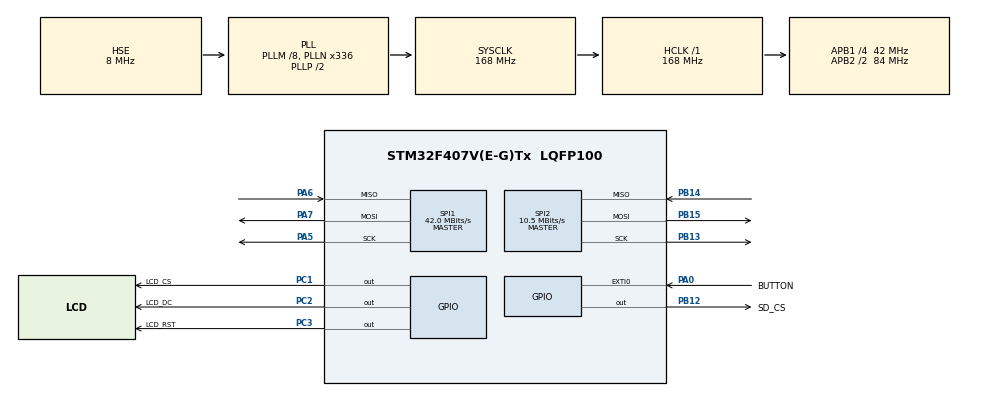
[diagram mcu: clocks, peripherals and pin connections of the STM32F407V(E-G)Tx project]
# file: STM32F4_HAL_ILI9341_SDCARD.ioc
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Dma.Request0=SPI1_TX
Dma.SPI1_TX.0.Direction=DMA_MEMORY_TO_PERIPH
Dma.SPI1_TX.0.FIFOMode=DMA_FIFOMODE_DISABLE
Dma.SPI1_TX.0.Instance=DMA2_Stream3
Dma.SPI1_TX.0.MemDataAlignment=DMA_MDATAALIGN_BYTE
Dma.SPI1_TX.0.MemInc=DMA_MINC_ENABLE
Dma.SPI1_TX.0.Mode=DMA_NORMAL
Dma.SPI1_TX.0.PeriphDataAlignment=DMA_PDATAALIGN_BYTE
Dma.SPI1_TX.0.PeriphInc=DMA_PINC_DISABLE
Dma.SPI1_TX.0.Priority=DMA_PRIORITY_LOW
FATFS._CODE_PAGE=949
FATFS._MAX_SS=4096
FATFS._USE_LFN=1
Mcu.Family=STM32F4
Mcu.Name=STM32F407V(E-G)Tx
Mcu.Package=LQFP100
NVIC.DMA2_Stream3_IRQn=true\:0\:0\:false\:false\:true\:false
NVIC.PriorityGroup=NVIC_PRIORITYGROUP_0
NVIC.SPI1_IRQn=true\:0\:0\:false\:false\:true\:true
PA0-WKUP.GPIO_Label=BUTTON
PA0-WKUP.Signal=GPXTI0
PA5.Mode=Full_Duplex_Master
PA5.Signal=SPI1_SCK
PA6.Mode=Full_Duplex_Master
PA6.Signal=SPI1_MISO
PA7.Mode=Full_Duplex_Master
PA7.Signal=SPI1_MOSI
PB12.GPIO_Label=SD_CS
PB12.Signal=GPIO_Output
PB13.Mode=Full_Duplex_Master
PB13.Signal=SPI2_SCK
PB14.Mode=Full_Duplex_Master
PB14.Signal=SPI2_MISO
PB15.Mode=Full_Duplex_Master
PB15.Signal=SPI2_MOSI
PC1.GPIO_Label=LCD_CS
PC1.PinState=GPIO_PIN_RESET
PC1.Signal=GPIO_Output
PC2.GPIO_Label=LCD_DC
PC2.Signal=GPIO_Output
PC3.GPIO_Label=LCD_RST
PC3.Signal=GPIO_Output
PH0-OSC_IN.Mode=HSE-External-Oscillator
PH0-OSC_IN.Signal=RCC_OSC_IN
PH1-OSC_OUT.Mode=HSE-External-Oscillator
PH1-OSC_OUT.Signal=RCC_OSC_OUT
ProjectManager.HeapSize=0x200
ProjectManager.StackSize=0x400
ProjectManager.TargetToolchain=TrueSTUDIO
RCC.48MHZClocksFreq_Value=48000000
RCC.AHBFreq_Value=168000000
RCC.APB1CLKDivider=RCC_HCLK_DIV4
RCC.APB1Freq_Value=42000000
RCC.APB1TimFreq_Value=84000000
RCC.APB2CLKDivider=RCC_HCLK_DIV2
RCC.APB2Freq_Value=84000000
RCC.APB2TimFreq_Value=168000000
RCC.CortexFreq_Value=168000000
RCC.HCLKFreq_Value=168000000
RCC.HSE_VALUE=8000000
RCC.HSI_VALUE=16000000
RCC.LSE_VALUE=32768
RCC.PLLM=8
RCC.PLLN=336
RCC.PLLQ=7
RCC.PLLSourceVirtual=RCC_PLLSOURCE_HSE
RCC.SYSCLKFreq_VALUE=168000000
RCC.SYSCLKSource=RCC_SYSCLKSOURCE_PLLCLK
RCC.VCOOutputFreq_Value=336000000
SPI1.CalculateBaudRate=42.0 MBits/s
SPI1.Direction=SPI_DIRECTION_2LINES
SPI1.Mode=SPI_MODE_MASTER
SPI1.VirtualType=VM_MASTER
SPI2.BaudRatePrescaler=SPI_BAUDRATEPRESCALER_4
SPI2.CalculateBaudRate=10.5 MBits/s
SPI2.Direction=SPI_DIRECTION_2LINES
SPI2.Mode=SPI_MODE_MASTER
SPI2.VirtualType=VM_MASTER
VP_FATFS_VS_Generic.Mode=User_defined
board=STM32F4DISCOVERY

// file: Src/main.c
/**
 ******************************************************************************
 * @file           : main.c
 * @brief          : Main program body
 ******************************************************************************
 * This notice applies to any and all portions of this file
 * that are not between comment pairs USER CODE BEGIN and
 * USER CODE END. Other portions of this file, whether
 * inserted by the user or by software development tools
 * are owned by their respective copyright owners.
 *
 * Copyright (c) 2019 STMicroelectronics International N.V.
 * All rights reserved.
 *
 * Redistribution and use in source and binary forms, with or without
 * modification, are permitted, provided that the following conditions are met:
 *
 * 1. Redistribution of source code must retain the above copyright notice,
 *    this list of conditions and the following disclaimer.
 * 2. Redistributions in binary form must reproduce the above copyright notice,
 *    this list of conditions and the following disclaimer in the documentation
 *    and/or other materials provided with the distribution.
 * 3. Neither the name of STMicroelectronics nor the names of other
 *    contributors to this software may be used to endorse or promote products
 *    derived from this software without specific written permission.
 * 4. This software, including modifications and/or derivative works of this
 *    software, must execute solely and exclusively on microcontroller or
 *    microprocessor devices manufactured by or for STMicroelectronics.
 * 5. Redistribution and use of this software other than as permitted under
 *    this license is void and will automatically terminate your rights under
 *    this license.
 *
 * THIS SOFTWARE IS PROVIDED BY STMICROELECTRONICS AND CONTRIBUTORS "AS IS"
 * AND ANY EXPRESS, IMPLIED OR STATUTORY WARRANTIES, INCLUDING, BUT NOT
 * LIMITED TO, THE IMPLIED WARRANTIES OF MERCHANTABILITY, FITNESS FOR A
 * PARTICULAR PURPOSE AND NON-INFRINGEMENT OF THIRD PARTY INTELLECTUAL PROPERTY
 * RIGHTS ARE DISCLAIMED TO THE FULLEST EXTENT PERMITTED BY LAW. IN NO EVENT
 * SHALL STMICROELECTRONICS OR CONTRIBUTORS BE LIABLE FOR ANY DIRECT, INDIRECT,
 * INCIDENTAL, SPECIAL, EXEMPLARY, OR CONSEQUENTIAL DAMAGES (INCLUDING, BUT NOT
 * LIMITED TO, PROCUREMENT OF SUBSTITUTE GOODS OR SERVICES; LOSS OF USE, DATA,
 * OR PROFITS; OR BUSINESS INTERRUPTION) HOWEVER CAUSED AND ON ANY THEORY OF
 * LIABILITY, WHETHER IN CONTRACT, STRICT LIABILITY, OR TORT (INCLUDING
 * NEGLIGENCE OR OTHERWISE) ARISING IN ANY WAY OUT OF THE USE OF THIS SOFTWARE,
 * EVEN IF ADVISED OF THE POSSIBILITY OF SUCH DAMAGE.
 *
 ******************************************************************************
 */
#include "main.h"
#include "stm32f4xx_hal.h"
#include "fatfs.h"

/* USER CODE BEGIN Includes */
#include "ILI9341_STM32_Driver.h"
#include "ILI9341_GFX.h"

/* USER CODE END Includes */

SPI_HandleTypeDef hspi1;
SPI_HandleTypeDef hspi2;
DMA_HandleTypeDef hdma_spi1_tx;

/* USER CODE BEGIN PV */
/* Private variables ---------------------------------------------------------*/
FATFS fs;
FATFS *pfs;
FIL fil;
FRESULT fres;
DWORD fre_clust;
uint32_t totalSpace, freeSpace;
char buffer[100];

/* USER CODE END PV */

void SystemClock_Config(void);
static void MX_GPIO_Init(void);
static void MX_DMA_Init(void);
static void MX_SPI1_Init(void);
static void MX_SPI2_Init(void);

/* USER CODE BEGIN PFP */
/* Private function prototypes -----------------------------------------------*/

/* USER CODE END PFP */

int main(void)
{

	/* MCU Configuration----------------------------------------------------------*/

	/* Reset of all peripherals, Initializes the Flash interface and the Systick. */
	HAL_Init();

	/* Configure the system clock */
	SystemClock_Config();

	/* Initialize all configured peripherals */
	MX_GPIO_Init();
	MX_DMA_Init();
	MX_SPI1_Init();
	MX_SPI2_Init();
	MX_FATFS_Init();
	/* USER CODE BEGIN 2 */
	/* Wait time to power up */
	ILI9341_Init();

	ILI9341_FillScreen(WHITE);
	ILI9341_SetRotation(SCREEN_HORIZONTAL_2);

	/* Mount SD Card */
	if(f_mount(&fs, "", 0) != FR_OK)
	{
		ILI9341_DrawText("f_mount failed", FONT3, 10, 10, BLACK, WHITE);
		_Error_Handler(__FILE__, __LINE__);
	}

	/* Open file to write */
	if(f_open(&fil, "first.txt", FA_OPEN_ALWAYS | FA_READ | FA_WRITE) != FR_OK)
	{
		ILI9341_DrawText("f_open failed", FONT3, 10, 10, BLACK, WHITE);
		_Error_Handler(__FILE__, __LINE__);
	}

	/* Check freeSpace space */
	if(f_getfree("", &fre_clust, &pfs) != FR_OK)
	{
		ILI9341_DrawText("f_getfree failed", FONT3, 10, 10, BLACK, WHITE);
		_Error_Handler(__FILE__, __LINE__);
	}

	totalSpace = (uint32_t)((pfs->n_fatent - 2) * pfs->csize * 0.5);
	freeSpace = (uint32_t)(fre_clust * pfs->csize * 0.5);

	/* freeSpace space is less than 1kb */
	if(freeSpace < 1)
	{
		ILI9341_DrawText("freeSpace is too small", FONT3, 10, 10, BLACK, WHITE);
		_Error_Handler(__FILE__, __LINE__);
	}

	/* Writing text */
	f_puts("STM32 SD Card I/O Example via SPI\n", &fil);
	f_puts("Save the world!!!", &fil);

	/* Close file */
	if(f_close(&fil) != FR_OK)
	{
		ILI9341_DrawText("f_close failed", FONT3, 10, 10, BLACK, WHITE);
		_Error_Handler(__FILE__, __LINE__);
	}

	/* Open file to read */
	if(f_open(&fil, "first.txt", FA_READ) != FR_OK)
	{
		ILI9341_DrawText("f_open failed", FONT3, 10, 10, BLACK, WHITE);
		_Error_Handler(__FILE__, __LINE__);
	}

	while(f_gets(buffer, sizeof(buffer), &fil))
	{
		static uint8_t line = 10;
		ILI9341_DrawText(buffer, FONT3, 10, line, BLACK, WHITE);
		line += 20;
	}

	/* Close file */
	if(f_close(&fil) != FR_OK)
	{
		ILI9341_DrawText("f_close failed", FONT3, 10, 10, BLACK, WHITE);
		_Error_Handler(__FILE__, __LINE__);
	}

	/* Unmount SDCARD */
	if(f_mount(NULL, "", 1) != FR_OK)
	{
		ILI9341_DrawText("f_mount failed", FONT3, 10, 10, BLACK, WHITE);
		_Error_Handler(__FILE__, __LINE__);
	}

	/* USER CODE END 2 */

	/* Infinite loop */
	while (1)
	{

	}

}

void SystemClock_Config(void)
{

	RCC_OscInitTypeDef RCC_OscInitStruct;
	RCC_ClkInitTypeDef RCC_ClkInitStruct;

	/**Configure the main internal regulator output voltage
	 */
	__HAL_RCC_PWR_CLK_ENABLE();

	__HAL_PWR_VOLTAGESCALING_CONFIG(PWR_REGULATOR_VOLTAGE_SCALE1);

	/**Initializes the CPU, AHB and APB busses clocks
	 */
	RCC_OscInitStruct.OscillatorType = RCC_OSCILLATORTYPE_HSE;
	RCC_OscInitStruct.HSEState = RCC_HSE_ON;
	RCC_OscInitStruct.PLL.PLLState = RCC_PLL_ON;
	RCC_OscInitStruct.PLL.PLLSource = RCC_PLLSOURCE_HSE;
	RCC_OscInitStruct.PLL.PLLM = 8;
	RCC_OscInitStruct.PLL.PLLN = 336;
	RCC_OscInitStruct.PLL.PLLP = RCC_PLLP_DIV2;
	RCC_OscInitStruct.PLL.PLLQ = 7;
	if (HAL_RCC_OscConfig(&RCC_OscInitStruct) != HAL_OK)
	{
		_Error_Handler(__FILE__, __LINE__);
	}

	/**Initializes the CPU, AHB and APB busses clocks
	 */
	RCC_ClkInitStruct.ClockType = RCC_CLOCKTYPE_HCLK|RCC_CLOCKTYPE_SYSCLK
			|RCC_CLOCKTYPE_PCLK1|RCC_CLOCKTYPE_PCLK2;
	RCC_ClkInitStruct.SYSCLKSource = RCC_SYSCLKSOURCE_PLLCLK;
	RCC_ClkInitStruct.AHBCLKDivider = RCC_SYSCLK_DIV1;
	RCC_ClkInitStruct.APB1CLKDivider = RCC_HCLK_DIV4;
	RCC_ClkInitStruct.APB2CLKDivider = RCC_HCLK_DIV2;

	if (HAL_RCC_ClockConfig(&RCC_ClkInitStruct, FLASH_LATENCY_5) != HAL_OK)
	{
		_Error_Handler(__FILE__, __LINE__);
	}

	/**Configure the Systick interrupt time
	 */
	HAL_SYSTICK_Config(HAL_RCC_GetHCLKFreq()/1000);

	/**Configure the Systick
	 */
	HAL_SYSTICK_CLKSourceConfig(SYSTICK_CLKSOURCE_HCLK);

	/* SysTick_IRQn interrupt configuration */
	HAL_NVIC_SetPriority(SysTick_IRQn, 0, 0);
}

/* SPI1 init function */
static void MX_SPI1_Init(void)
{

	/* SPI1 parameter configuration*/
	hspi1.Instance = SPI1;
	hspi1.Init.Mode = SPI_MODE_MASTER;
	hspi1.Init.Direction = SPI_DIRECTION_2LINES;
	hspi1.Init.DataSize = SPI_DATASIZE_8BIT;
	hspi1.Init.CLKPolarity = SPI_POLARITY_LOW;
	hspi1.Init.CLKPhase = SPI_PHASE_1EDGE;
	hspi1.Init.NSS = SPI_NSS_SOFT;
	hspi1.Init.BaudRatePrescaler = SPI_BAUDRATEPRESCALER_2;
	hspi1.Init.FirstBit = SPI_FIRSTBIT_MSB;
	hspi1.Init.TIMode = SPI_TIMODE_DISABLE;
	hspi1.Init.CRCCalculation = SPI_CRCCALCULATION_DISABLE;
	hspi1.Init.CRCPolynomial = 10;
	if (HAL_SPI_Init(&hspi1) != HAL_OK)
	{
		_Error_Handler(__FILE__, __LINE__);
	}

}

/* SPI2 init function */
static void MX_SPI2_Init(void)
{

	/* SPI2 parameter configuration*/
	hspi2.Instance = SPI2;
	hspi2.Init.Mode = SPI_MODE_MASTER;
	hspi2.Init.Direction = SPI_DIRECTION_2LINES;
	hspi2.Init.DataSize = SPI_DATASIZE_8BIT;
	hspi2.Init.CLKPolarity = SPI_POLARITY_LOW;
	hspi2.Init.CLKPhase = SPI_PHASE_1EDGE;
	hspi2.Init.NSS = SPI_NSS_SOFT;
	hspi2.Init.BaudRatePrescaler = SPI_BAUDRATEPRESCALER_4;
	hspi2.Init.FirstBit = SPI_FIRSTBIT_MSB;
	hspi2.Init.TIMode = SPI_TIMODE_DISABLE;
	hspi2.Init.CRCCalculation = SPI_CRCCALCULATION_DISABLE;
	hspi2.Init.CRCPolynomial = 10;
	if (HAL_SPI_Init(&hspi2) != HAL_OK)
	{
		_Error_Handler(__FILE__, __LINE__);
	}

}

static void MX_DMA_Init(void)
{
	/* DMA controller clock enable */
	__HAL_RCC_DMA2_CLK_ENABLE();

	/* DMA interrupt init */
	/* DMA2_Stream3_IRQn interrupt configuration */
	HAL_NVIC_SetPriority(DMA2_Stream3_IRQn, 0, 0);
	HAL_NVIC_EnableIRQ(DMA2_Stream3_IRQn);

}

/** Configure pins as
 * Analog
 * Input
 * Output
 * EVENT_OUT
 * EXTI
 */
static void MX_GPIO_Init(void)
{

	GPIO_InitTypeDef GPIO_InitStruct;

	/* GPIO Ports Clock Enable */
	__HAL_RCC_GPIOH_CLK_ENABLE();
	__HAL_RCC_GPIOC_CLK_ENABLE();
	__HAL_RCC_GPIOA_CLK_ENABLE();
	__HAL_RCC_GPIOB_CLK_ENABLE();

	/*Configure GPIO pin Output Level */
	HAL_GPIO_WritePin(GPIOC, LCD_CS_Pin|LCD_DC_Pin|LCD_RST_Pin, GPIO_PIN_RESET);

	/*Configure GPIO pin Output Level */
	HAL_GPIO_WritePin(SD_CS_GPIO_Port, SD_CS_Pin, GPIO_PIN_RESET);

	/*Configure GPIO pins : LCD_CS_Pin LCD_DC_Pin LCD_RST_Pin */
	GPIO_InitStruct.Pin = LCD_CS_Pin|LCD_DC_Pin|LCD_RST_Pin;
	GPIO_InitStruct.Mode = GPIO_MODE_OUTPUT_PP;
	GPIO_InitStruct.Pull = GPIO_NOPULL;
	GPIO_InitStruct.Speed = GPIO_SPEED_FREQ_LOW;
	HAL_GPIO_Init(GPIOC, &GPIO_InitStruct);

	/*Configure GPIO pin : BUTTON_Pin */
	GPIO_InitStruct.Pin = BUTTON_Pin;
	GPIO_InitStruct.Mode = GPIO_MODE_IT_RISING;
	GPIO_InitStruct.Pull = GPIO_NOPULL;
	HAL_GPIO_Init(BUTTON_GPIO_Port, &GPIO_InitStruct);

	/*Configure GPIO pin : SD_CS_Pin */
	GPIO_InitStruct.Pin = SD_CS_Pin;
	GPIO_InitStruct.Mode = GPIO_MODE_OUTPUT_PP;
	GPIO_InitStruct.Pull = GPIO_NOPULL;
	GPIO_InitStruct.Speed = GPIO_SPEED_FREQ_LOW;
	HAL_GPIO_Init(SD_CS_GPIO_Port, &GPIO_InitStruct);

}

void _Error_Handler(char *file, int line)
{
	while(1)
	{
	}
}

/************************ (C) COPYRIGHT STMicroelectronics *****END OF FILE****/
